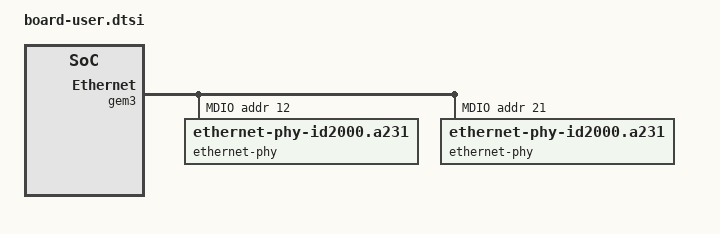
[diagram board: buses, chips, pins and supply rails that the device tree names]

/* PS GEM3 (board RJ45): the SDT flow does not describe the board-level
 * TI DP83867 PHY, so Linux falls back to the Generic PHY driver and the
 * RGMII clock delays are never programmed - the link negotiates 1G but
 * passes no packets. The ZCU102 PHY address depends on the board
 * revision (revA: 21, revB/rev1.0/rev1.1: 0xc), so both subnodes are
 * described and no phy-handle is set: macb scans the MDIO bus and binds
 * the address that answers, picking up that node's delay properties.
 * Values from the official zynqmp-zcu102-rev*.dts. The fixed MAC
 * replaces the random one the SDT flow leaves us with.
 */
&gem3 {
	local-mac-address = [00 0a 35 06 21 02];
	mdio {
		#address-cells = <1>;
		#size-cells = <0>;
		ethernet-phy@c {
			compatible = "ethernet-phy-id2000.a231";
			reg = <0xc>;
			ti,rx-internal-delay = <0x8>;
			ti,tx-internal-delay = <0xa>;
			ti,fifo-depth = <0x1>;
			ti,dp83867-rxctrl-strap-quirk;
		};
		ethernet-phy@21 {
			compatible = "ethernet-phy-id2000.a231";
			reg = <21>;
			ti,rx-internal-delay = <0x8>;
			ti,tx-internal-delay = <0xa>;
			ti,fifo-depth = <0x1>;
			ti,dp83867-rxctrl-strap-quirk;
		};
	};
};
